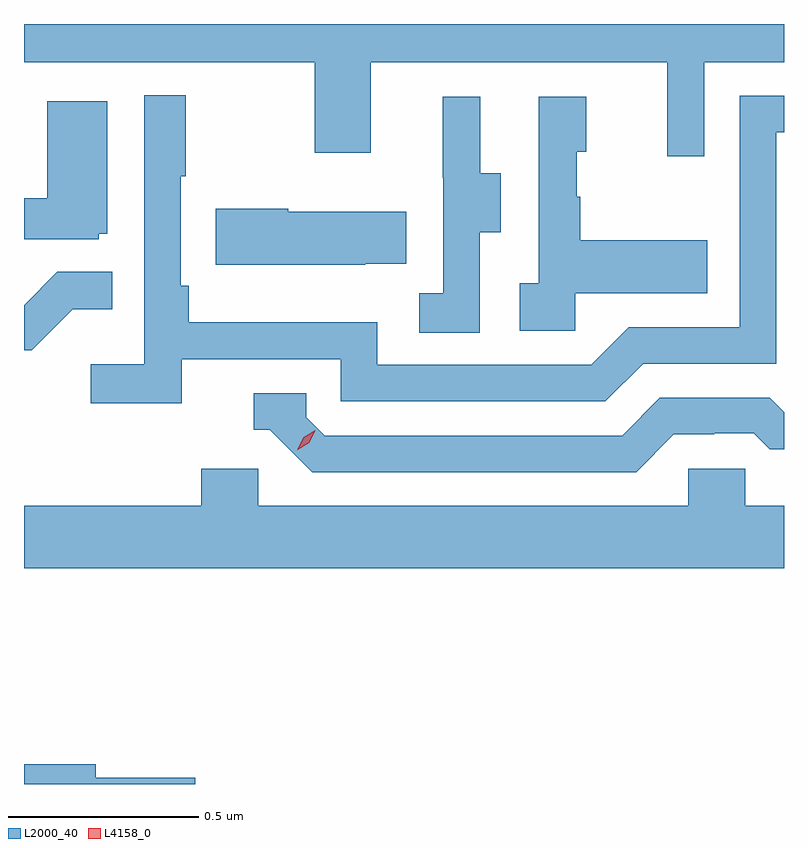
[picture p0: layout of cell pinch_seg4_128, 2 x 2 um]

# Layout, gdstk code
import gdstk
lib = gdstk.Library(unit=1e-6, precision=1e-09)
def P(c, l, *ps):  # polygons
    for p in ps: c.add(gdstk.Polygon(p, *l))
L2000_40 = (2000, 40)
L4158_0 = (4158, 0)

pinch_seg4_128 = lib.new_cell('pinch_seg4_128')
P(pinch_seg4_128, L2000_40, [(1023.771,806.144),(1023.981,806.144),(1023.981,806.244),(1021.981,806.244),(1021.981,806.144),(1022.746,806.144),(1022.746,805.905),(1022.893,805.905),(1022.893,806.144),(1023.674,806.144),(1023.674,805.896),(1023.771,805.896)],
  [(1022.396,805.362),(1022.814,805.362),(1022.814,805.251),(1023.511,805.251),(1023.61,805.35),(1023.96,805.35),(1023.96,805.959),(1023.981,805.959),(1023.981,806.055),(1023.864,806.055),(1023.864,805.446),(1023.573,805.446),(1023.474,805.347),(1022.91,805.347),(1022.91,805.459),(1022.414,805.459),(1022.414,805.555),(1022.394,805.555),(1022.394,805.843),(1022.407,805.843),(1022.407,806.056),(1022.298,806.056),(1022.298,805.348),(1022.157,805.348),(1022.157,805.246),(1022.396,805.246)],
  [(1023.432,805.535),(1023.779,805.535),(1023.779,805.675),(1023.445,805.675),(1023.445,805.79),(1023.435,805.79),(1023.435,805.908),(1023.46,805.908),(1023.46,806.053),(1023.336,806.053),(1023.336,805.562),(1023.285,805.562),(1023.285,805.437),(1023.432,805.437)],
  [(1023.18,805.696),(1023.235,805.696),(1023.235,805.851),(1023.181,805.851),(1023.181,806.053),(1023.083,806.053),(1023.083,805.839),(1023.084,805.839),(1023.084,805.535),(1023.021,805.535),(1023.021,805.432),(1023.18,805.432)],
  [(1022.178,805.692),(1022.2,805.692),(1022.2,806.041),(1022.042,806.041),(1022.042,805.786),(1021.981,805.786),(1021.981,805.677),(1022.178,805.677)],
  [(1022.879,805.613),(1022.987,805.613),(1022.987,805.75),(1022.677,805.75),(1022.677,805.758),(1022.486,805.758),(1022.486,805.61),(1022.879,805.61)],
  [(1022.109,805.493),(1022.213,805.493),(1022.213,805.592),(1022.069,805.592),(1021.981,805.504),(1021.981,805.386),(1022.002,805.386)],
  [(1023.691,805.164),(1023.798,805.164),(1023.798,805.167),(1023.901,805.167),(1023.943,805.125),(1023.981,805.125),(1023.981,805.222),(1023.943,805.26),(1023.654,805.26),(1023.555,805.161),(1022.772,805.161),(1022.724,805.209),(1022.724,805.272),(1022.585,805.272),(1022.585,805.176),(1022.628,805.176),(1022.739,805.065),(1023.592,805.065)],
  [(1023.981,804.976),(1023.879,804.976),(1023.879,805.074),(1023.729,805.074),(1023.729,804.976),(1022.598,804.976),(1022.598,805.074),(1022.447,805.074),(1022.447,804.976),(1021.981,804.976),(1021.981,804.812),(1023.981,804.812)],
  [(1022.431,804.26),(1022.17,804.26),(1022.17,804.296),(1021.981,804.296),(1021.981,804.244),(1022.431,804.244)])
P(pinch_seg4_128, L4158_0, [(1022.7,805.123),(1022.7,805.124),(1022.717,805.156),(1022.748,805.175),(1022.748,805.175),(1022.748,805.175),(1022.732,805.142),(1022.701,805.123)])

lib.write_gds('pinch_seg4_128.gds')
